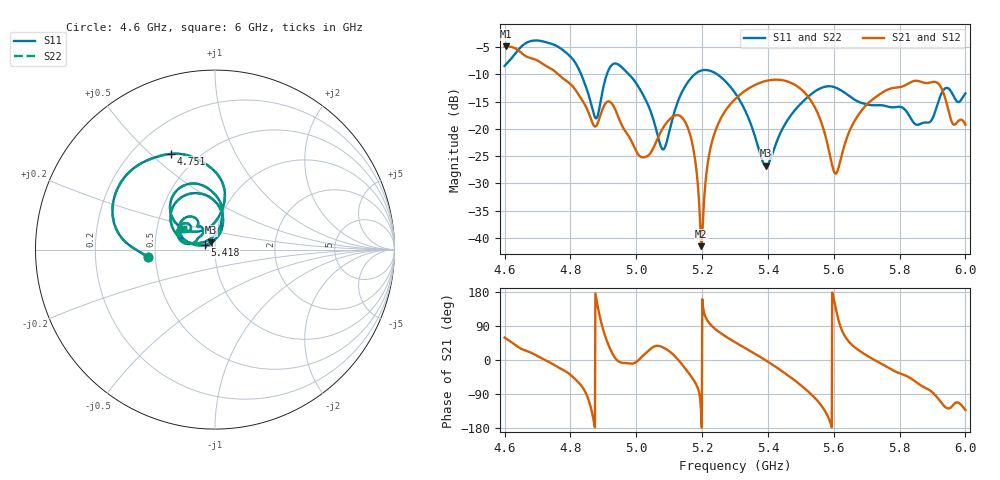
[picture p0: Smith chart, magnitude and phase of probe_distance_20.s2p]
! TOUCHSTONE file generated by CST MICROWAVE STUDIO
! Date and time: Sat Nov 30 13:11:01 2024
! Project name: test_tuning.cst
! Parameters = {airCoaxOuterDiameter=3; chamferAngle=45; chamferWidth=24; connectorLength=10; drillingHoleDiameter=4.1; feedLength=60; flareDiameter=130; flareLength=70; gratingDistance=0; gratingGap=1.90274; outletLength=30; polarizerLength=134; probe1Diameter=1.3; probe1Distance=17.5; probe1Length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
! Header version: 2024
! Port assignment regex: !\s*Touchstone port\s*([0-9]+)\s*=\s*(CST MWS port|CST DES external port|CST DES block port)\s*(.+)\s* \(\"(.*)\"\)(\s*mode\s*([0-9]+))?.*
! Touchstone port assignment:
! Touchstone port 1 = CST MWS port 1 ("Input1")
! Touchstone port 2 = CST MWS port 2 ("Input2")
# GHz S MA R 50
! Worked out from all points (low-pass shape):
!   1001 points, 4.6 GHz to 6 GHz, reference 50 ohm
!   highest |S21| = -4.90 dB at 4.603 GHz (marker M1); lowest = -41.5 dB at 5.198 GHz (marker M2)
!   |S21| within 3 dB of the highest: start of sweep to 4.711 GHz
!   lowest |S11| = -26.8 dB at 5.394 GHz (marker M3), VSWR 1.10, Z = 47.7 + j3.84 ohm
!   |S11| at or under -10 dB: 4.832 GHz to 4.911 GHz (78.2 MHz wide, 1.61 % of centre); 4.977 GHz to 5.178 GHz (200.5 MHz wide, 3.95 % of centre); 5.246 GHz to end of sweep
!   |S22| runs from -26.8 to -3.8 dB; largest |S21 - S12| = 5.1e-07
!   S11 on the Smith chart (normalised r, x): 4.6 GHz: 0.45, -0.04; 4.751 GHz: 0.36, +0.58; 5.418 GHz: 0.89, +0.05; 6 GHz: 0.68, +0.16
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4.6  0.377 -173.9  0.5689 59.2  0.5689 59.2  0.377 -173.9
4.6028  0.3857 -174.8  0.5691 57.6  0.5691 57.6  0.3857 -174.8
4.67  0.6224 156.1  0.4545 22.9  0.4545 22.9  0.6224 156.1
4.7512  0.5876 114.8  0.3389 -13.4  0.3389 -13.4  0.5876 114.8
4.8338  0.3094 79.7  0.1868 -68.6  0.1868 -68.6  0.3094 79.7
4.8786  0.1245 116.8  0.1064 161.9  0.1064 161.9  0.1245 116.8
4.9514  0.3769 104.3  0.1161 -6.1  0.1161 -6.1  0.3769 104.3
5.0158  0.2177 79.2  0.05508 7.6  0.05508 7.6  0.2177 79.2
5.0676  0.08123 90.5  0.0849 37.1  0.0849 37.1  0.08123 90.5
5.1516  0.2536 154.8  0.1109 -25.6  0.1109 -25.6  0.2536 154.8
5.1768  0.3142 142.0  0.05718 -56.4  0.05718 -56.4  0.3142 142.0
5.1978  0.3424 129.2  0.008399 -152.3  0.008399 -152.3  0.3424 129.2
5.2314  0.3341 109.6  0.07859 88.4  0.07859 88.4  0.3341 109.6
5.3  0.2136 80.1  0.1865 47.1  0.1865 47.1  0.2136 80.1
5.3938  0.0458 118.6  0.2746 -1.2  0.2746 -1.2  0.0458 118.6
5.4176  0.06382 156.0  0.2815 -14.5  0.2815 -14.5  0.06382 156.0
5.5338  0.2104 156.1  0.1751 -92.4  0.1751 -92.4  0.2104 156.1
5.6066  0.2382 129.9  0.03886 134.6  0.03886 134.6  0.2382 129.9
5.671  0.1794 121.5  0.1287 28.8  0.1287 28.8  0.1794 121.5
5.7676  0.1587 126.1  0.2312 -20.9  0.2312 -20.9  0.1587 126.1
5.9118  0.1558 168.5  0.267 -96.1  0.267 -96.1  0.1558 168.5
6  0.2111 147.3  0.1091 -131.8  0.1091 -131.8  0.2111 147.3
